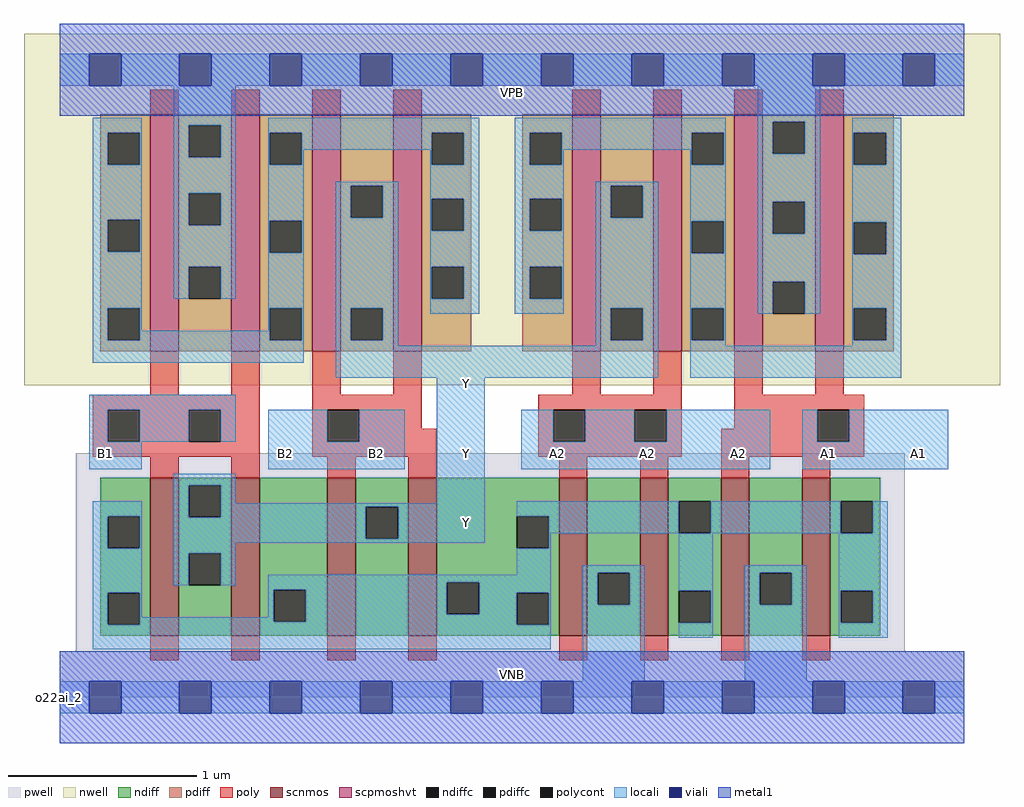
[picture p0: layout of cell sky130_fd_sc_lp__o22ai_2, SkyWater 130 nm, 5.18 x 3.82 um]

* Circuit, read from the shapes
.subckt sky130_fd_sc_lp__o22ai_2 A1 A2 B1 B2 VGND VNB VPB VPWR Y
XM1 Y B1 n1 VNB sky130_fd_pr__nfet_01v8 w=0.84 l=0.15 m=2
XM2 Y B2 n1 VNB sky130_fd_pr__nfet_01v8 w=0.84 l=0.15 m=2
XM3 VGND A2 n1 VNB sky130_fd_pr__nfet_01v8 w=0.84 l=0.15 m=2
XM4 VGND A1 n1 VNB sky130_fd_pr__nfet_01v8 w=0.84 l=0.15 m=2
XM5 VPWR B1 n2 VPB sky130_fd_pr__pfet_01v8_hvt w=1.26 l=0.15 m=2
XM6 Y B2 n2 VPB sky130_fd_pr__pfet_01v8_hvt w=1.26 l=0.15 m=2
XM7 Y A2 n3 VPB sky130_fd_pr__pfet_01v8_hvt w=1.26 l=0.15 m=2
XM8 VPWR A1 n3 VPB sky130_fd_pr__pfet_01v8_hvt w=1.26 l=0.15 m=2
.ends

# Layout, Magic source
magic
tech sky130A
magscale 1 2
<< nwell >>
rect -38 331 998 704
<< pwell >>
rect 17 49 897 259
rect 0 0 960 49
<< scnmos >>
rect 96 65 126 233
rect 182 65 212 233
rect 284 65 314 233
rect 370 65 400 233
rect 530 65 560 233
rect 616 65 646 233
rect 702 65 732 233
rect 788 65 818 233
<< scpmoshvt >>
rect 96 367 126 619
rect 182 367 212 619
rect 268 367 298 619
rect 354 367 384 619
rect 544 367 574 619
rect 630 367 660 619
rect 716 367 746 619
rect 802 367 832 619
<< ndiff >>
rect 43 192 96 233
rect 43 158 51 192
rect 85 158 96 192
rect 43 111 96 158
rect 43 77 51 111
rect 85 77 96 111
rect 43 65 96 77
rect 126 225 182 233
rect 126 191 137 225
rect 171 191 182 225
rect 126 153 182 191
rect 126 119 137 153
rect 171 119 182 153
rect 126 65 182 119
rect 212 114 284 233
rect 212 80 227 114
rect 261 80 284 114
rect 212 65 284 80
rect 314 202 370 233
rect 314 168 325 202
rect 359 168 370 202
rect 314 65 370 168
rect 400 192 530 233
rect 400 158 485 192
rect 519 158 530 192
rect 400 122 530 158
rect 400 88 411 122
rect 445 111 530 122
rect 445 88 485 111
rect 400 77 485 88
rect 519 77 530 111
rect 400 65 530 77
rect 560 132 616 233
rect 560 98 571 132
rect 605 98 616 132
rect 560 65 616 98
rect 646 208 702 233
rect 646 174 657 208
rect 691 174 702 208
rect 646 113 702 174
rect 646 79 657 113
rect 691 79 702 113
rect 646 65 702 79
rect 732 132 788 233
rect 732 98 743 132
rect 777 98 788 132
rect 732 65 788 98
rect 818 208 871 233
rect 818 174 829 208
rect 863 174 871 208
rect 818 113 871 174
rect 818 79 829 113
rect 863 79 871 113
rect 818 65 871 79
<< pdiff >>
rect 43 599 96 619
rect 43 565 51 599
rect 85 565 96 599
rect 43 507 96 565
rect 43 473 51 507
rect 85 473 96 507
rect 43 413 96 473
rect 43 379 51 413
rect 85 379 96 413
rect 43 367 96 379
rect 126 607 182 619
rect 126 573 137 607
rect 171 573 182 607
rect 126 535 182 573
rect 126 501 137 535
rect 171 501 182 535
rect 126 457 182 501
rect 126 423 137 457
rect 171 423 182 457
rect 126 367 182 423
rect 212 599 268 619
rect 212 565 223 599
rect 257 565 268 599
rect 212 506 268 565
rect 212 472 223 506
rect 257 472 268 506
rect 212 413 268 472
rect 212 379 223 413
rect 257 379 268 413
rect 212 367 268 379
rect 298 543 354 619
rect 298 509 309 543
rect 343 509 354 543
rect 298 413 354 509
rect 298 379 309 413
rect 343 379 354 413
rect 298 367 354 379
rect 384 599 437 619
rect 384 565 395 599
rect 429 565 437 599
rect 384 529 437 565
rect 384 495 395 529
rect 429 495 437 529
rect 384 457 437 495
rect 384 423 395 457
rect 429 423 437 457
rect 384 367 437 423
rect 491 599 544 619
rect 491 565 499 599
rect 533 565 544 599
rect 491 529 544 565
rect 491 495 499 529
rect 533 495 544 529
rect 491 457 544 495
rect 491 423 499 457
rect 533 423 544 457
rect 491 367 544 423
rect 574 543 630 619
rect 574 509 585 543
rect 619 509 630 543
rect 574 413 630 509
rect 574 379 585 413
rect 619 379 630 413
rect 574 367 630 379
rect 660 599 716 619
rect 660 565 671 599
rect 705 565 716 599
rect 660 505 716 565
rect 660 471 671 505
rect 705 471 716 505
rect 660 413 716 471
rect 660 379 671 413
rect 705 379 716 413
rect 660 367 716 379
rect 746 611 802 619
rect 746 577 757 611
rect 791 577 802 611
rect 746 526 802 577
rect 746 492 757 526
rect 791 492 802 526
rect 746 441 802 492
rect 746 407 757 441
rect 791 407 802 441
rect 746 367 802 407
rect 832 599 885 619
rect 832 565 843 599
rect 877 565 885 599
rect 832 504 885 565
rect 832 470 843 504
rect 877 470 885 504
rect 832 413 885 470
rect 832 379 843 413
rect 877 379 885 413
rect 832 367 885 379
<< ndiffc >>
rect 51 158 85 192
rect 51 77 85 111
rect 137 191 171 225
rect 137 119 171 153
rect 227 80 261 114
rect 325 168 359 202
rect 485 158 519 192
rect 411 88 445 122
rect 485 77 519 111
rect 571 98 605 132
rect 657 174 691 208
rect 657 79 691 113
rect 743 98 777 132
rect 829 174 863 208
rect 829 79 863 113
<< pdiffc >>
rect 51 565 85 599
rect 51 473 85 507
rect 51 379 85 413
rect 137 573 171 607
rect 137 501 171 535
rect 137 423 171 457
rect 223 565 257 599
rect 223 472 257 506
rect 223 379 257 413
rect 309 509 343 543
rect 309 379 343 413
rect 395 565 429 599
rect 395 495 429 529
rect 395 423 429 457
rect 499 565 533 599
rect 499 495 533 529
rect 499 423 533 457
rect 585 509 619 543
rect 585 379 619 413
rect 671 565 705 599
rect 671 471 705 505
rect 671 379 705 413
rect 757 577 791 611
rect 757 492 791 526
rect 757 407 791 441
rect 843 565 877 599
rect 843 470 877 504
rect 843 379 877 413
<< poly >>
rect 96 619 126 645
rect 182 619 212 645
rect 268 619 298 645
rect 354 619 384 645
rect 544 619 574 645
rect 630 619 660 645
rect 716 619 746 645
rect 802 619 832 645
rect 96 321 126 367
rect 182 321 212 367
rect 35 305 212 321
rect 35 271 51 305
rect 85 271 137 305
rect 171 271 212 305
rect 35 255 212 271
rect 268 321 298 367
rect 354 321 384 367
rect 544 321 574 367
rect 630 321 660 367
rect 268 305 384 321
rect 268 271 284 305
rect 318 285 384 305
rect 508 305 660 321
rect 318 271 400 285
rect 268 255 400 271
rect 508 271 524 305
rect 558 271 610 305
rect 644 271 660 305
rect 716 321 746 367
rect 802 321 832 367
rect 716 305 854 321
rect 716 285 804 305
rect 508 255 660 271
rect 702 271 804 285
rect 838 271 854 305
rect 702 255 854 271
rect 96 233 126 255
rect 182 233 212 255
rect 284 233 314 255
rect 370 233 400 255
rect 530 233 560 255
rect 616 233 646 255
rect 702 233 732 255
rect 788 233 818 255
rect 96 39 126 65
rect 182 39 212 65
rect 284 39 314 65
rect 370 39 400 65
rect 530 39 560 65
rect 616 39 646 65
rect 702 39 732 65
rect 788 39 818 65
<< polycont >>
rect 51 271 85 305
rect 137 271 171 305
rect 284 271 318 305
rect 524 271 558 305
rect 610 271 644 305
rect 804 271 838 305
<< locali >>
rect 0 649 31 683
rect 65 649 127 683
rect 161 649 223 683
rect 257 649 319 683
rect 353 649 415 683
rect 449 649 511 683
rect 545 649 607 683
rect 641 649 703 683
rect 737 649 799 683
rect 833 649 895 683
rect 929 649 960 683
rect 35 599 87 615
rect 35 565 51 599
rect 85 565 87 599
rect 35 507 87 565
rect 35 473 51 507
rect 85 473 87 507
rect 35 413 87 473
rect 121 607 187 649
rect 121 573 137 607
rect 171 573 187 607
rect 121 535 187 573
rect 121 501 137 535
rect 171 501 187 535
rect 121 457 187 501
rect 121 423 137 457
rect 171 423 187 457
rect 221 599 445 615
rect 221 565 223 599
rect 257 581 395 599
rect 257 565 259 581
rect 221 506 259 565
rect 393 565 395 581
rect 429 565 445 599
rect 221 472 223 506
rect 257 472 259 506
rect 35 379 51 413
rect 85 389 87 413
rect 221 413 259 472
rect 221 389 223 413
rect 85 379 223 389
rect 257 379 259 413
rect 35 355 259 379
rect 293 543 359 547
rect 293 509 309 543
rect 343 509 359 543
rect 293 413 359 509
rect 293 379 309 413
rect 343 379 359 413
rect 393 529 445 565
rect 393 495 395 529
rect 429 495 445 529
rect 393 457 445 495
rect 393 423 395 457
rect 429 423 445 457
rect 393 407 445 423
rect 483 599 707 615
rect 483 565 499 599
rect 533 581 671 599
rect 533 565 535 581
rect 483 529 535 565
rect 669 565 671 581
rect 705 565 707 599
rect 483 495 499 529
rect 533 495 535 529
rect 483 457 535 495
rect 483 423 499 457
rect 533 423 535 457
rect 483 407 535 423
rect 569 543 635 547
rect 569 509 585 543
rect 619 509 635 543
rect 569 413 635 509
rect 293 373 359 379
rect 569 379 585 413
rect 619 379 635 413
rect 569 373 635 379
rect 293 339 635 373
rect 669 505 707 565
rect 669 471 671 505
rect 705 471 707 505
rect 669 413 707 471
rect 669 379 671 413
rect 705 379 707 413
rect 741 611 807 649
rect 741 577 757 611
rect 791 577 807 611
rect 741 526 807 577
rect 741 492 757 526
rect 791 492 807 526
rect 741 441 807 492
rect 741 407 757 441
rect 791 407 807 441
rect 841 599 893 615
rect 841 565 843 599
rect 877 565 893 599
rect 841 504 893 565
rect 841 470 843 504
rect 877 470 893 504
rect 841 413 893 470
rect 669 373 707 379
rect 841 379 843 413
rect 877 379 893 413
rect 841 373 893 379
rect 669 339 893 373
rect 31 305 187 321
rect 31 271 51 305
rect 85 271 137 305
rect 171 271 187 305
rect 221 271 284 305
rect 318 271 366 305
rect 31 242 87 271
rect 221 242 366 271
rect 121 225 187 237
rect 35 192 87 208
rect 35 158 51 192
rect 85 158 87 192
rect 35 111 87 158
rect 121 191 137 225
rect 171 206 187 225
rect 400 206 451 339
rect 490 271 524 305
rect 558 271 610 305
rect 644 271 754 305
rect 490 242 754 271
rect 788 271 804 305
rect 838 271 943 305
rect 788 242 943 271
rect 171 202 451 206
rect 171 191 325 202
rect 121 168 325 191
rect 359 168 451 202
rect 121 164 451 168
rect 485 192 657 208
rect 121 153 187 164
rect 121 119 137 153
rect 171 119 187 153
rect 519 174 657 192
rect 691 174 829 208
rect 863 174 879 208
rect 519 158 521 174
rect 485 130 521 158
rect 221 122 521 130
rect 35 77 51 111
rect 85 85 87 111
rect 221 114 411 122
rect 221 85 227 114
rect 85 80 227 85
rect 261 88 411 114
rect 445 111 521 122
rect 445 88 485 111
rect 261 80 485 88
rect 85 77 485 80
rect 519 77 521 111
rect 35 51 521 77
rect 555 132 621 140
rect 555 98 571 132
rect 605 98 621 132
rect 555 17 621 98
rect 657 113 693 174
rect 691 79 693 113
rect 657 63 693 79
rect 727 132 793 140
rect 727 98 743 132
rect 777 98 793 132
rect 727 17 793 98
rect 827 113 879 174
rect 827 79 829 113
rect 863 79 879 113
rect 827 63 879 79
rect 0 -17 31 17
rect 65 -17 127 17
rect 161 -17 223 17
rect 257 -17 319 17
rect 353 -17 415 17
rect 449 -17 511 17
rect 545 -17 607 17
rect 641 -17 703 17
rect 737 -17 799 17
rect 833 -17 895 17
rect 929 -17 960 17
<< viali >>
rect 31 649 65 683
rect 127 649 161 683
rect 223 649 257 683
rect 319 649 353 683
rect 415 649 449 683
rect 511 649 545 683
rect 607 649 641 683
rect 703 649 737 683
rect 799 649 833 683
rect 895 649 929 683
rect 31 -17 65 17
rect 127 -17 161 17
rect 223 -17 257 17
rect 319 -17 353 17
rect 415 -17 449 17
rect 511 -17 545 17
rect 607 -17 641 17
rect 703 -17 737 17
rect 799 -17 833 17
rect 895 -17 929 17
<< metal1 >>
rect 0 683 960 715
rect 0 649 31 683
rect 65 649 127 683
rect 161 649 223 683
rect 257 649 319 683
rect 353 649 415 683
rect 449 649 511 683
rect 545 649 607 683
rect 641 649 703 683
rect 737 649 799 683
rect 833 649 895 683
rect 929 649 960 683
rect 0 617 960 649
rect 0 17 960 49
rect 0 -17 31 17
rect 65 -17 127 17
rect 161 -17 223 17
rect 257 -17 319 17
rect 353 -17 415 17
rect 449 -17 511 17
rect 545 -17 607 17
rect 641 -17 703 17
rect 737 -17 799 17
rect 833 -17 895 17
rect 929 -17 960 17
rect 0 -49 960 -17
<< labels >>
flabel pwell s 0 0 960 49 0 FreeSans 200 0 0 0 VNB
port 6 nsew ground bidirectional
flabel nwell s 0 617 960 666 0 FreeSans 200 0 0 0 VPB
port 7 nsew power bidirectional
rlabel comment s 0 0 0 0 4 o22ai_2
flabel metal1 s 0 617 960 666 0 FreeSans 340 0 0 0 VPWR
port 8 nsew power bidirectional
flabel metal1 s 0 0 960 49 0 FreeSans 340 0 0 0 VGND
port 5 nsew ground bidirectional
flabel locali s 415 168 449 202 0 FreeSans 340 0 0 0 Y
port 9 nsew signal output
flabel locali s 415 242 449 276 0 FreeSans 340 0 0 0 Y
port 9 nsew signal output
flabel locali s 415 316 449 350 0 FreeSans 340 0 0 0 Y
port 9 nsew signal output
flabel locali s 799 242 833 276 0 FreeSans 340 0 0 0 A1
port 1 nsew signal input
flabel locali s 895 242 929 276 0 FreeSans 340 0 0 0 A1
port 1 nsew signal input
flabel locali s 511 242 545 276 0 FreeSans 340 0 0 0 A2
port 2 nsew signal input
flabel locali s 607 242 641 276 0 FreeSans 340 0 0 0 A2
port 2 nsew signal input
flabel locali s 703 242 737 276 0 FreeSans 340 0 0 0 A2
port 2 nsew signal input
flabel locali s 31 242 65 276 0 FreeSans 340 0 0 0 B1
port 3 nsew signal input
flabel locali s 223 242 257 276 0 FreeSans 340 0 0 0 B2
port 4 nsew signal input
flabel locali s 319 242 353 276 0 FreeSans 340 0 0 0 B2
port 4 nsew signal input
<< properties >>
string LEFsite unit
string LEFclass CORE
string FIXED_BBOX 0 0 960 666
string GDS_FILE $PDKPATH/libs.ref/sky130_fd_sc_lp/gds/sky130_fd_sc_lp.gds
string LEFsymmetry X Y R90
string GDS_END 1325670
string GDS_START 1316686
<< end >>
